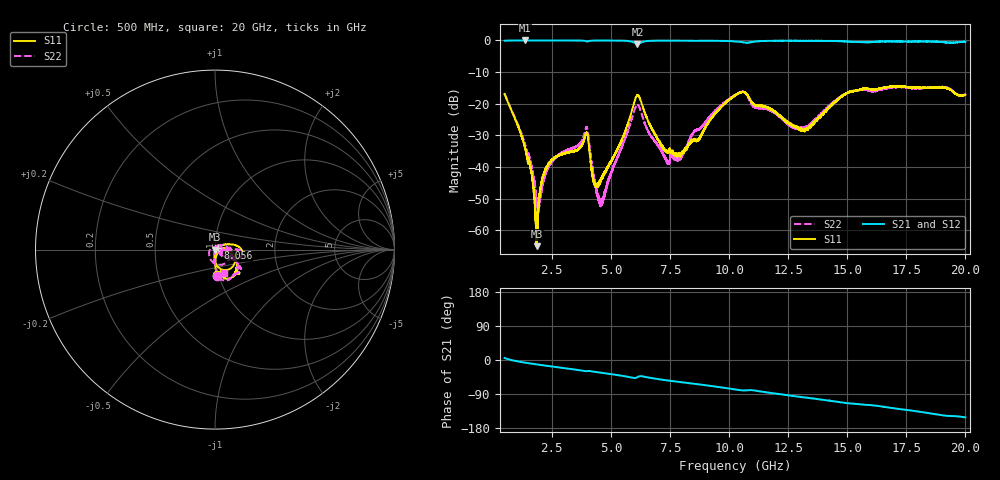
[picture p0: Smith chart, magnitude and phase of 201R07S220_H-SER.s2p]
!{201R07S220}
!Johanson Technology Inc.
!www.johansontechnology.com
!Test Board Conditions:
!Substrate Type  RO4350B
!Substrate Thickness  10 mil
!Substrate Dk  3.66
!TL Type: GCPW
!TL Trace Width  21 mil
!TL Gap  20 mil
!Electrode orientation  Horizontal
!DUT TOPOLOGY	SERIES
!Mounting Pad LxW  16x21 mil
!Agilent Technologies,N5230A,MY45001966,A.07.50.67
!Agilent N5230A: A.07.50.67
! Created Mon Mar  9 16:08:44 2020
# mhz S ma R 50
! 2 Port Network Data from SP1.SP block
! freq  magS11  angS11  magS21  angS21  magS12  angS12  magS22  angS22
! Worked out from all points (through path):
!   19501 points, 500 MHz to 20 GHz, reference 50 ohm
!   highest |S21| = -0.01 dB at 1.367 GHz (marker M1); lowest = -1.1 dB at 6.12 GHz (marker M2)
!   group delay of S21, straight-line fit = 21.4 ps
!   lowest |S11| = -65.0 dB at 1.851 GHz (marker M3), VSWR 1.00, Z = 50.1 - j0.015 ohm
!   |S11| at or under -10 dB: start of sweep to end of sweep
!   |S22| runs from -54.1 to -14.6 dB; largest |S21 - S12| = 0.015
!   S11 on the Smith chart (normalised r, x): 500 MHz: 0.98, -0.29; 8.056 GHz: 1.03, +0.01; 20 GHz: 1.05, -0.28
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500  0.1438 -84.9  0.988 5.3  0.989 5.3  0.1453 -84.9
1367  0.02026 -94.5  0.9992 -7.0  0.9978 -7.0  0.0223 -97.1
1615  0.008908 -94.5  0.9981 -9.5  0.9986 -9.4  0.01149 -93.8
1851  0.000565 -15.4  0.9988 -11.6  0.9976 -11.6  0.003046 -70.6
1966  0.003624 64.5  0.9983 -12.6  0.9975 -12.6  0.002395 5.5
2087  0.006325 73.0  0.9977 -13.7  0.9981 -13.6  0.004802 38.4
2322  0.01052 76.4  0.9973 -15.6  0.9979 -15.6  0.009397 45.9
3750  0.02183 60.1  0.9935 -27.8  0.9936 -27.8  0.02526 34.8
3997  0.03402 -14.5  0.9634 -29.2  0.9634 -29.1  0.04146 -14.9
4295  0.005602 -60.4  0.9942 -31.0  0.9944 -31.0  0.006287 -35.3
4604  0.006839 -34.2  0.9954 -33.8  0.9965 -33.8  0.002709 41.9
6120  0.1368 -43.7  0.8786 -45.2  0.879 -45.3  0.09627 -43.9
7000  0.02704 -66.2  0.9917 -50.5  0.9916 -50.5  0.02153 157.1
7403  0.0175 -10.3  0.9929 -54.0  0.9933 -54.0  0.01223 95.5
8056  0.01747 23.9  0.9935 -59.5  0.9928 -59.4  0.01639 17.2
8514  0.02746 18.6  0.9849 -63.1  0.9857 -63.0  0.0363 -14.8
10250  0.136 6.3  0.9667 -77.6  0.9675 -77.5  0.138 -1.4
12757  0.04449 -1.5  0.9887 -95.2  0.988 -95.4  0.04211 -15.4
13500  0.04547 9.0  0.9866 -101.2  0.9861 -101.1  0.04889 -40.6
15007  0.1485 -34.2  0.9569 -114.0  0.9585 -113.8  0.15 -32.1
16750  0.1841 -43.8  0.9683 -125.3  0.9611 -125.4  0.1781 -36.5
20000  0.1386 -71.5  0.9548 -151.5  0.9561 -151.4  0.1388 -68.7
